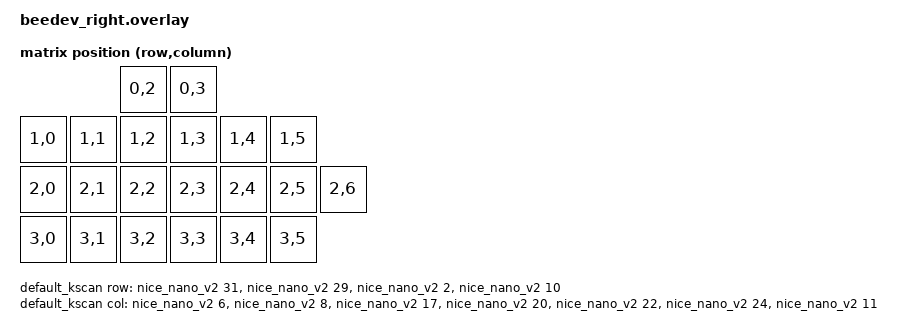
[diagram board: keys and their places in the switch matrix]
#include <dt-bindings/zmk/matrix_transform.h>

/ {
    chosen {
        zmk,kscan = &default_kscan;
        zmk,matrix_transform = &default_transform; 
    };
    layouts {
        compatible = "zmk,layout";
        default_layout = <&beedev_right_split>;

        beedev_right_split: beedev_right_split {
            compatible = "zmk,layout";
            keymap {
                compatible = "zmk,keymap";
            };
        };
    };
    split {
        compatible = "zmk,split";
        label = "right";
    };

    bluetooth {
        compatible = "zmk,bluetooth";
        label = "right";
    };

    default_kscan: kscan {
        compatible = "zmk, kscan-gpio-matrix";
        label = "default_kscan";
        diode-direction = "col2row";

        row-gpios = <&nice_nano_v2 31 (GPIO_PULL_DOWN)>,
                    <&nice_nano_v2 29 (GPIO_PULL_DOWN)>,
                    <&nice_nano_v2 2 (GPIO_PULL_DOWN)>,
                    <&nice_nano_v2 10 (GPIO_PULL_DOWN)>;

        col-gpios = <&nice_nano_v2 6 (GPIO_ACTIVE_HIGH)>,
                    <&nice_nano_v2 8 (GPIO_ACTIVE_HIGH)>,
                    <&nice_nano_v2 17 (GPIO_ACTIVE_HIGH)>,
                    <&nice_nano_v2 20 (GPIO_ACTIVE_HIGH)>,
                    <&nice_nano_v2 22 (GPIO_ACTIVE_HIGH)>,
                    <&nice_nano_v2 24 (GPIO_ACTIVE_HIGH)>,
                    <&nice_nano_v2 11 (GPIO_ACTIVE_HIGH)>;
    };

    default_transform: matrix_transform{
        compatible = "zmk,matrix-transform";
        rows = <4>;
        columns = <7>;

        map = <
            NO_NODE NO_NODE RC(0,2) RC(0,3) NO_NODE NO_NODE NO_NODE
            RC(1,0) RC(1,1) RC(1,2) RC(1,3) RC(1,4) RC(1,5) NO_NODE
            RC(2,0) RC(2,1) RC(2,2) RC(2,3) RC(2,4) RC(2,5) RC(2,6)
            RC(3,0) RC(3,1) RC(3,2) RC(3,3) RC(3,4) RC(3,5) NO_NODE
        >;
    };
}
